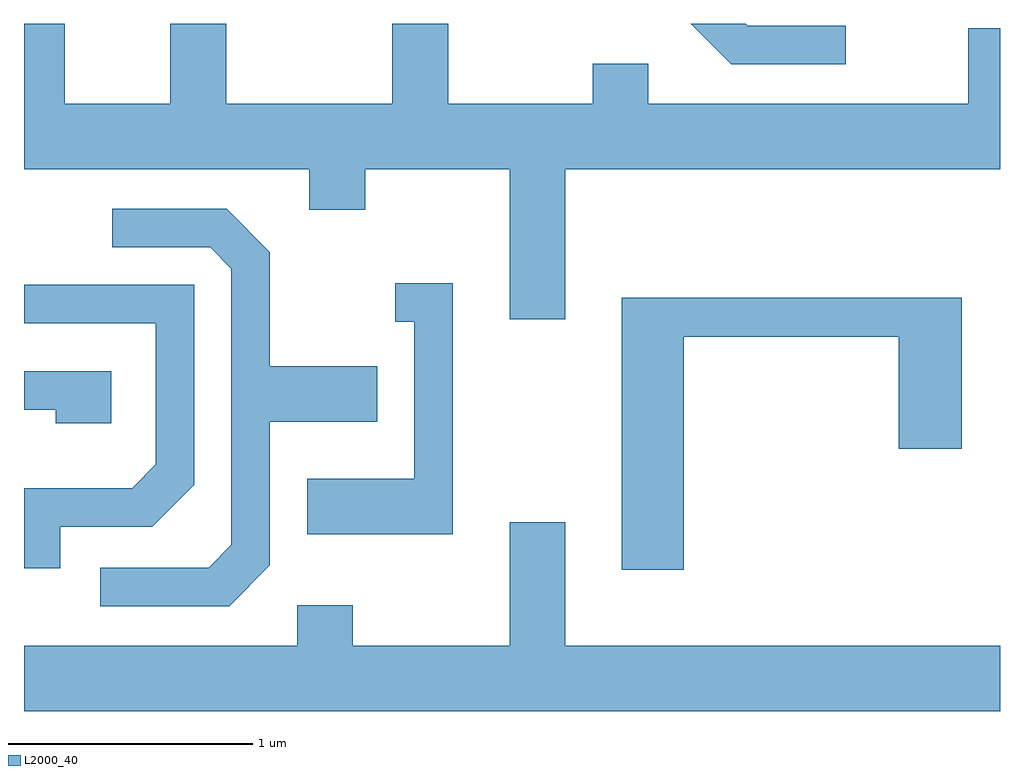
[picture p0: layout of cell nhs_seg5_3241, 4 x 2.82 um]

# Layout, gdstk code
import gdstk
lib = gdstk.Library(unit=1e-6, precision=1e-09)
def P(c, l, *ps):  # polygons
    for p in ps: c.add(gdstk.Polygon(p, *l))
L2000_40 = (2000, 40)

nhs_seg5_3241 = lib.new_cell('nhs_seg5_3241')
P(nhs_seg5_3241, L2000_40, [(283.829,1443.476),(285.611,1443.476),(285.611,1444.054),(285.481,1444.054),(285.481,1443.744),(284.169,1443.744),(284.169,1443.909),(283.941,1443.909),(283.941,1443.744),(283.349,1443.744),(283.349,1444.072),(283.121,1444.072),(283.121,1443.744),(282.439,1443.744),(282.439,1444.072),(282.211,1444.072),(282.211,1443.744),(281.779,1443.744),(281.779,1444.072),(281.611,1444.072),(281.611,1443.476),(282.781,1443.476),(282.781,1443.311),(283.009,1443.311),(283.009,1443.476),(283.601,1443.476),(283.601,1442.861),(283.829,1442.861)],
  [(284.978,1444.064),(284.577,1444.064),(284.569,1444.072),(284.343,1444.072),(284.509,1443.906),(284.978,1443.906)],
  [(282.619,1441.854),(282.619,1442.441),(283.059,1442.441),(283.059,1442.669),(282.619,1442.669),(282.619,1443.137),(282.442,1443.314),(281.973,1443.314),(281.973,1443.156),(282.374,1443.156),(282.461,1443.069),(282.461,1441.937),(282.369,1441.844),(281.923,1441.844),(281.923,1441.686),(282.452,1441.686)],
  [(283.369,1443.009),(283.133,1443.009),(283.133,1442.851),(283.211,1442.851),(283.211,1442.209),(282.771,1442.209),(282.771,1441.981),(283.369,1441.981)],
  [(281.759,1442.011),(282.137,1442.011),(282.309,1442.184),(282.309,1443.004),(281.611,1443.004),(281.611,1442.846),(282.151,1442.846),(282.151,1442.267),(282.054,1442.169),(281.611,1442.169),(281.611,1441.841),(281.759,1441.841)],
  [(284.314,1442.791),(285.196,1442.791),(285.196,1442.331),(285.454,1442.331),(285.454,1442.949),(284.061,1442.949),(284.061,1441.836),(284.314,1441.836)],
  [(281.969,1442.649),(281.611,1442.649),(281.611,1442.491),(281.741,1442.491),(281.741,1442.436),(281.969,1442.436)],
  [(285.611,1441.524),(283.829,1441.524),(283.829,1442.029),(283.601,1442.029),(283.601,1441.524),(282.959,1441.524),(282.959,1441.689),(282.731,1441.689),(282.731,1441.524),(281.611,1441.524),(281.611,1441.256),(285.611,1441.256)])

lib.write_gds('nhs_seg5_3241.gds')
